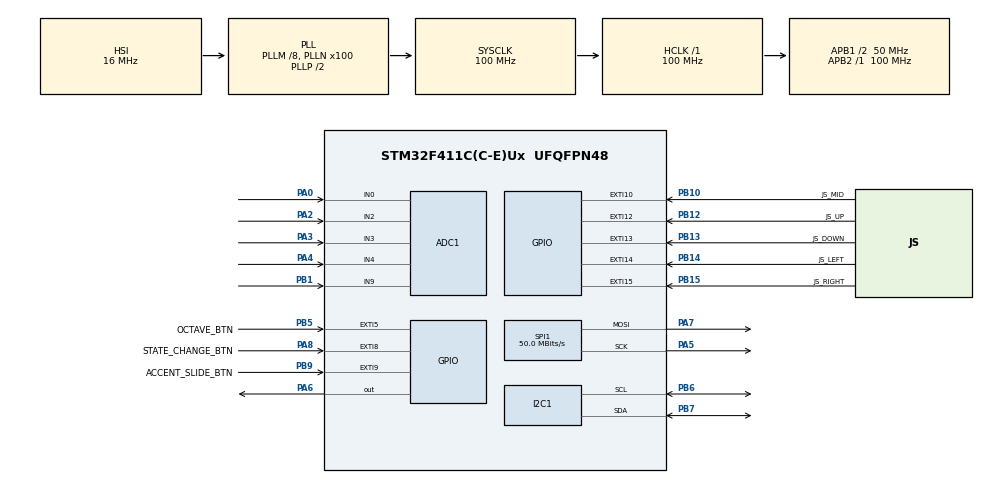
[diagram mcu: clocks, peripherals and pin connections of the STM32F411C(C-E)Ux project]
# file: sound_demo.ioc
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ADC1.Channel-3\#ChannelRegularConversion=ADC_CHANNEL_9
ADC1.Channel-4\#ChannelRegularConversion=ADC_CHANNEL_4
ADC1.Channel-5\#ChannelRegularConversion=ADC_CHANNEL_3
ADC1.Channel-6\#ChannelRegularConversion=ADC_CHANNEL_2
ADC1.Channel-7\#ChannelRegularConversion=ADC_CHANNEL_0
ADC1.DMAContinuousRequests=ENABLE
ADC1.ExternalTrigConv=ADC_EXTERNALTRIGCONV_T3_TRGO
ADC1.NbrOfConversion=5
ADC1.NbrOfConversionFlag=1
ADC1.Rank-3\#ChannelRegularConversion=1
ADC1.Rank-4\#ChannelRegularConversion=2
ADC1.Rank-5\#ChannelRegularConversion=3
ADC1.Rank-6\#ChannelRegularConversion=4
ADC1.Rank-7\#ChannelRegularConversion=5
ADC1.SamplingTime-3\#ChannelRegularConversion=ADC_SAMPLETIME_3CYCLES
ADC1.SamplingTime-4\#ChannelRegularConversion=ADC_SAMPLETIME_3CYCLES
ADC1.SamplingTime-5\#ChannelRegularConversion=ADC_SAMPLETIME_3CYCLES
ADC1.SamplingTime-6\#ChannelRegularConversion=ADC_SAMPLETIME_3CYCLES
ADC1.SamplingTime-7\#ChannelRegularConversion=ADC_SAMPLETIME_3CYCLES
ADC1.ScanConvMode=ENABLE
ADC1.master=1
Dma.ADC1.1.Direction=DMA_PERIPH_TO_MEMORY
Dma.ADC1.1.FIFOMode=DMA_FIFOMODE_DISABLE
Dma.ADC1.1.Instance=DMA2_Stream0
Dma.ADC1.1.MemDataAlignment=DMA_MDATAALIGN_HALFWORD
Dma.ADC1.1.MemInc=DMA_MINC_ENABLE
Dma.ADC1.1.Mode=DMA_CIRCULAR
Dma.ADC1.1.PeriphDataAlignment=DMA_PDATAALIGN_HALFWORD
Dma.ADC1.1.PeriphInc=DMA_PINC_DISABLE
Dma.ADC1.1.Priority=DMA_PRIORITY_LOW
Dma.Request0=SPI1_TX
Dma.Request1=ADC1
Dma.SPI1_TX.0.Direction=DMA_MEMORY_TO_PERIPH
Dma.SPI1_TX.0.FIFOMode=DMA_FIFOMODE_DISABLE
Dma.SPI1_TX.0.Instance=DMA2_Stream2
Dma.SPI1_TX.0.MemDataAlignment=DMA_MDATAALIGN_HALFWORD
Dma.SPI1_TX.0.MemInc=DMA_MINC_ENABLE
Dma.SPI1_TX.0.Mode=DMA_NORMAL
Dma.SPI1_TX.0.PeriphDataAlignment=DMA_PDATAALIGN_HALFWORD
Dma.SPI1_TX.0.PeriphInc=DMA_PINC_DISABLE
Dma.SPI1_TX.0.Priority=DMA_PRIORITY_HIGH
Mcu.Family=STM32F4
Mcu.Name=STM32F411C(C-E)Ux
Mcu.Package=UFQFPN48
NVIC.DMA2_Stream0_IRQn=true\:0\:0\:false\:false\:true\:false\:true\:true
NVIC.DMA2_Stream2_IRQn=true\:0\:0\:false\:false\:true\:false\:true\:true
NVIC.EXTI15_10_IRQn=true\:0\:0\:false\:false\:true\:true\:true\:true
NVIC.EXTI9_5_IRQn=true\:0\:0\:false\:false\:true\:true\:true\:true
NVIC.PriorityGroup=NVIC_PRIORITYGROUP_4
NVIC.SPI1_IRQn=true\:0\:0\:false\:false\:true\:true\:true\:true
NVIC.TIM2_IRQn=true\:0\:0\:false\:false\:true\:true\:true\:true
PA0-WKUP.Signal=ADCx_IN0
PA2.Signal=ADCx_IN2
PA3.Signal=ADCx_IN3
PA4.Signal=ADCx_IN4
PA5.Mode=TX_Only_Simplex_Unidirect_Master
PA5.Signal=SPI1_SCK
PA6.Signal=GPIO_Output
PA7.Mode=TX_Only_Simplex_Unidirect_Master
PA7.Signal=SPI1_MOSI
PA8.GPIO_Label=STATE_CHANGE_BTN
PA8.GPIO_ModeDefaultEXTI=GPIO_MODE_IT_FALLING
PA8.GPIO_PuPd=GPIO_PULLUP
PA8.Signal=GPXTI8
PB1.Signal=ADCx_IN9
PB10.GPIO_Label=JS_MID
PB10.GPIO_ModeDefaultEXTI=GPIO_MODE_IT_FALLING
PB10.GPIO_PuPd=GPIO_PULLUP
PB10.Signal=GPXTI10
PB12.GPIO_Label=JS_UP
PB12.GPIO_ModeDefaultEXTI=GPIO_MODE_IT_FALLING
PB12.GPIO_PuPd=GPIO_PULLUP
PB12.Signal=GPXTI12
PB13.GPIO_Label=JS_DOWN
PB13.GPIO_ModeDefaultEXTI=GPIO_MODE_IT_FALLING
PB13.GPIO_PuPd=GPIO_PULLUP
PB13.Signal=GPXTI13
PB14.GPIO_Label=JS_LEFT
PB14.GPIO_ModeDefaultEXTI=GPIO_MODE_IT_FALLING
PB14.GPIO_PuPd=GPIO_PULLUP
PB14.Signal=GPXTI14
PB15.GPIO_Label=JS_RIGHT
PB15.GPIO_ModeDefaultEXTI=GPIO_MODE_IT_FALLING
PB15.GPIO_PuPd=GPIO_PULLUP
PB15.Signal=GPXTI15
PB5.GPIO_Label=OCTAVE_BTN
PB5.GPIO_ModeDefaultEXTI=GPIO_MODE_IT_FALLING
PB5.GPIO_PuPd=GPIO_PULLUP
PB5.Signal=GPXTI5
PB6.GPIO_Pu=GPIO_PULLUP
PB6.GPIO_Speed=GPIO_SPEED_FREQ_MEDIUM
PB6.Mode=I2C
PB6.Signal=I2C1_SCL
PB7.GPIO_Pu=GPIO_PULLUP
PB7.GPIO_Speed=GPIO_SPEED_FREQ_MEDIUM
PB7.Mode=I2C
PB7.Signal=I2C1_SDA
PB9.GPIO_Label=ACCENT_SLIDE_BTN
PB9.GPIO_ModeDefaultEXTI=GPIO_MODE_IT_FALLING
PB9.GPIO_PuPd=GPIO_PULLUP
PB9.Signal=GPXTI9
ProjectManager.HeapSize=0x200
ProjectManager.StackSize=0x400
ProjectManager.TargetToolchain=STM32CubeIDE
RCC.48MHZClocksFreq_Value=50000000
RCC.AHBFreq_Value=100000000
RCC.APB1CLKDivider=RCC_HCLK_DIV2
RCC.APB1Freq_Value=50000000
RCC.APB1TimFreq_Value=100000000
RCC.APB2Freq_Value=100000000
RCC.APB2TimFreq_Value=100000000
RCC.CortexFreq_Value=100000000
RCC.HCLKFreq_Value=100000000
RCC.HSE_VALUE=25000000
RCC.HSI_VALUE=16000000
RCC.LSE_VALUE=32768
RCC.PLLM=8
RCC.PLLN=100
RCC.SYSCLKFreq_VALUE=100000000
RCC.SYSCLKSource=RCC_SYSCLKSOURCE_PLLCLK
RCC.VCOOutputFreq_Value=200000000
SH.ADCx_IN0.0=ADC1_IN0,IN0
SH.ADCx_IN2.0=ADC1_IN2,IN2
SH.ADCx_IN3.0=ADC1_IN3,IN3
SH.ADCx_IN4.0=ADC1_IN4,IN4
SH.ADCx_IN9.0=ADC1_IN9,IN9
SPI1.CalculateBaudRate=50.0 MBits/s
SPI1.DataSize=SPI_DATASIZE_16BIT
SPI1.Direction=SPI_DIRECTION_2LINES
SPI1.Mode=SPI_MODE_MASTER
SPI1.VirtualType=VM_MASTER
TIM10.Prescaler=10000-1
TIM2.Period=4535
TIM3.Period=999
TIM3.Prescaler=9999
TIM3.TIM_MasterOutputTrigger=TIM_TRGO_UPDATE
VP_TIM10_VS_ClockSourceINT.Mode=Enable_Timer
VP_TIM2_VS_ClockSourceINT.Mode=Internal
VP_TIM3_VS_ClockSourceINT.Mode=Internal
board=custom

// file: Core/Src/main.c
/* USER CODE BEGIN Header */
/**
 ******************************************************************************
 * @file           : main.c
 * @brief          : Main program body
 ******************************************************************************
 * @attention
 *
 * Copyright (c) 2026 STMicroelectronics.
 * All rights reserved.
 *
 * This software is licensed under terms that can be found in the LICENSE file
 * in the root directory of this software component.
 * If no LICENSE file comes with this software, it is provided AS-IS.
 *
 ******************************************************************************
 */
/* USER CODE END Header */
#include "main.h"

/* USER CODE BEGIN Includes */
#include "sound.h"
#include "user_interface.h"

/* USER CODE END Includes */

ADC_HandleTypeDef hadc1;
DMA_HandleTypeDef hdma_adc1;

I2C_HandleTypeDef hi2c1;

SPI_HandleTypeDef hspi1;
DMA_HandleTypeDef hdma_spi1_tx;

TIM_HandleTypeDef htim2;
TIM_HandleTypeDef htim3;
TIM_HandleTypeDef htim10;

void SystemClock_Config(void);
static void MX_GPIO_Init(void);
static void MX_DMA_Init(void);
static void MX_SPI1_Init(void);
static void MX_TIM2_Init(void);
static void MX_ADC1_Init(void);
static void MX_TIM3_Init(void);
static void MX_TIM10_Init(void);
static void MX_I2C1_Init(void);
/* USER CODE BEGIN PFP */
volatile const char shapes[3] = { 't', 's', 'c' };
/* USER CODE END PFP */

/* USER CODE BEGIN 0 */
volatile struct buffer buf;

uint8_t trigger_env;

float a = 0.04f;
float k = 1.0f;
float sweep = 0.8f;
float sweep_rate = 0.9994f;
float decay_rate = 0.9997f;
float attack_rate = 0.015f;

uint16_t bpm = 120;
uint16_t shape_index;
uint8_t sub = 0;

uint16_t adc_buf[5] = { 0 };
volatile uint8_t process_flag = 0;

volatile uint16_t sequence[16] = { 0, 0, 0, 0, 0, 0, 0, 0, 0, 0, 0, 0, 0, 0, 0,
		0, };

volatile uint16_t note_index[16] = { 1, 1, 1, 1, 1, 1, 1, 1, 1, 1, 1, 1, 1, 1,
		1, 1 };

volatile int16_t octaves[16] =
		{ 0, 0, 0, 0, 0, 0, 0, 0, 0, 0, 0, 0, 0, 0, 0, 0 };

volatile int16_t slides[16] = { 0, 0, 0, 0, 0, 0, 0, 0, 0, 0, 0, 0, 0, 0, 0, 0 };

volatile int16_t accents[16] =
		{ 0, 0, 0, 0, 0, 0, 0, 0, 0, 0, 0, 0, 0, 0, 0, 0, };

volatile mode device_mode = PROG;
volatile uint32_t sample_counter = 0;
volatile uint32_t last_interrupt_time = 0;
volatile uint16_t curr = 0;
volatile uint32_t overrun_count = 0;

volatile HAL_StatusTypeDef status;

volatile int16_t seq_cursor = 0;
volatile int16_t seq_page = 0;
volatile int16_t active_pages = 1;

volatile int16_t options_cursor = 0;

volatile menu menu_state = OPTIONS;

/* USER CODE END 0 */

int main(void) {

	/* MCU Configuration--------------------------------------------------------*/

	/* Reset of all peripherals, Initializes the Flash interface and the Systick. */
	HAL_Init();

	/* USER CODE BEGIN Init */

	SCB->CPACR |= ((3UL << 10 * 2) | (3UL << 11 * 2));
	__set_FPSCR(__get_FPSCR() | (1 << 24) | (1 << 25));

	/* USER CODE END Init */

	/* Configure the system clock */
	SystemClock_Config();

	/* Initialize all configured peripherals */
	MX_GPIO_Init();
	MX_DMA_Init();
	MX_SPI1_Init();
	MX_TIM2_Init();
	MX_ADC1_Init();
	MX_TIM3_Init();
	MX_TIM10_Init();
	MX_I2C1_Init();
	/* USER CODE BEGIN 2 */

	HAL_NVIC_SetPriority(DMA2_Stream0_IRQn, 1, 0);
	HAL_NVIC_SetPriority(DMA2_Stream2_IRQn, 2, 0);

	struct ssd1306_t display;
	display.hi2cx = &hi2c1;
	HAL_Delay(100);
	init_display(&display);

	HAL_TIM_Base_Start(&htim3);
	HAL_ADC_Start_DMA(&hadc1, (uint32_t*) adc_buf, 5);

	trigger_env = 1;
	init_buffer(&buf, 110.0f);
	HAL_GPIO_WritePin(GPIOA, GPIO_PIN_6, 1);
	HAL_TIM_Base_Start_IT(&htim2);

	buf.slide = 0.02f;

	uint32_t samples_per_step = (SAMPLE_RATE * 60) / (bpm * 4);

	/* USER CODE END 2 */

	/* Infinite loop */
	/* USER CODE BEGIN WHILE */
	while (1) {

		if (device_mode == PLAY) {
			if (process_flag) {
				process_flag = 0;

				a = 0.02f + 0.2 * ((float) adc_buf[0] / 4095.0f);
				k = 0.0f + 10.0f * ((float) adc_buf[1] / 4095.0f);
				sweep = 0.0f + 1.0 * ((float) adc_buf[2] / 4095.0f);
				sweep_rate = 0.999f + 0.0009 * ((float) adc_buf[3] / 4095.0f);

				samples_per_step = (SAMPLE_RATE * 60) / (bpm * 4);

				advance_sequencer(&buf, &sample_counter, samples_per_step, note_index,
						octaves, slides, accents, sequence, curr, sweep, active_pages);

				compute_next(&buf, trigger_env, sweep, sweep_rate, sweep_rate,
						attack_rate, shapes[shape_index], sub);

				filter(&buf, a + buf.sweep, k);

				if (hspi1.State == HAL_SPI_STATE_READY) {
					send_to_dac(&hspi1, GPIOA, GPIO_PIN_6, buf.curr_sample);
				}
			}
		} else {
			if (menu_state == SEQUENCER) {
				for (int i = 15; i >= 0; i--) {
					if (sequence[i] != 0) {
						active_pages = (i / 4) + 1;
						break;
					}
				}

				display_sequencer(&display, note_index, sequence, octaves,
						slides, accents, seq_cursor, seq_page, active_pages);
			} else if (menu_state == OPTIONS) {

				bpm = (uint16_t) (150 - 90 * ((float) adc_buf[4] / 4095.0f));

				display_options(&display, bpm, shapes[shape_index], sub,
						options_cursor);
			}
			HAL_Delay(100);

		}

		/* USER CODE END WHILE */

	}
}

void SystemClock_Config(void) {
	RCC_OscInitTypeDef RCC_OscInitStruct = { 0 };
	RCC_ClkInitTypeDef RCC_ClkInitStruct = { 0 };

	/** Configure the main internal regulator output voltage
	 */
	__HAL_RCC_PWR_CLK_ENABLE();
	__HAL_PWR_VOLTAGESCALING_CONFIG(PWR_REGULATOR_VOLTAGE_SCALE1);

	/** Initializes the RCC Oscillators according to the specified parameters
	 * in the RCC_OscInitTypeDef structure.
	 */
	RCC_OscInitStruct.OscillatorType = RCC_OSCILLATORTYPE_HSI;
	RCC_OscInitStruct.HSIState = RCC_HSI_ON;
	RCC_OscInitStruct.HSICalibrationValue = RCC_HSICALIBRATION_DEFAULT;
	RCC_OscInitStruct.PLL.PLLState = RCC_PLL_ON;
	RCC_OscInitStruct.PLL.PLLSource = RCC_PLLSOURCE_HSI;
	RCC_OscInitStruct.PLL.PLLM = 8;
	RCC_OscInitStruct.PLL.PLLN = 100;
	RCC_OscInitStruct.PLL.PLLP = RCC_PLLP_DIV2;
	RCC_OscInitStruct.PLL.PLLQ = 4;
	if (HAL_RCC_OscConfig(&RCC_OscInitStruct) != HAL_OK) {
		Error_Handler();
	}

	/** Initializes the CPU, AHB and APB buses clocks
	 */
	RCC_ClkInitStruct.ClockType = RCC_CLOCKTYPE_HCLK | RCC_CLOCKTYPE_SYSCLK
			| RCC_CLOCKTYPE_PCLK1 | RCC_CLOCKTYPE_PCLK2;
	RCC_ClkInitStruct.SYSCLKSource = RCC_SYSCLKSOURCE_PLLCLK;
	RCC_ClkInitStruct.AHBCLKDivider = RCC_SYSCLK_DIV1;
	RCC_ClkInitStruct.APB1CLKDivider = RCC_HCLK_DIV2;
	RCC_ClkInitStruct.APB2CLKDivider = RCC_HCLK_DIV1;

	if (HAL_RCC_ClockConfig(&RCC_ClkInitStruct, FLASH_LATENCY_3) != HAL_OK) {
		Error_Handler();
	}
}

static void MX_ADC1_Init(void) {

	ADC_ChannelConfTypeDef sConfig = { 0 };

	/** Configure the global features of the ADC (Clock, Resolution, Data Alignment and number of conversion)
	 */
	hadc1.Instance = ADC1;
	hadc1.Init.ClockPrescaler = ADC_CLOCK_SYNC_PCLK_DIV4;
	hadc1.Init.Resolution = ADC_RESOLUTION_12B;
	hadc1.Init.ScanConvMode = ENABLE;
	hadc1.Init.ContinuousConvMode = DISABLE;
	hadc1.Init.DiscontinuousConvMode = DISABLE;
	hadc1.Init.ExternalTrigConvEdge = ADC_EXTERNALTRIGCONVEDGE_RISING;
	hadc1.Init.ExternalTrigConv = ADC_EXTERNALTRIGCONV_T3_TRGO;
	hadc1.Init.DataAlign = ADC_DATAALIGN_RIGHT;
	hadc1.Init.NbrOfConversion = 5;
	hadc1.Init.DMAContinuousRequests = ENABLE;
	hadc1.Init.EOCSelection = ADC_EOC_SINGLE_CONV;
	if (HAL_ADC_Init(&hadc1) != HAL_OK) {
		Error_Handler();
	}

	/** Configure for the selected ADC regular channel its corresponding rank in the sequencer and its sample time.
	 */
	sConfig.Channel = ADC_CHANNEL_9;
	sConfig.Rank = 1;
	sConfig.SamplingTime = ADC_SAMPLETIME_3CYCLES;
	if (HAL_ADC_ConfigChannel(&hadc1, &sConfig) != HAL_OK) {
		Error_Handler();
	}

	/** Configure for the selected ADC regular channel its corresponding rank in the sequencer and its sample time.
	 */
	sConfig.Channel = ADC_CHANNEL_4;
	sConfig.Rank = 2;
	if (HAL_ADC_ConfigChannel(&hadc1, &sConfig) != HAL_OK) {
		Error_Handler();
	}

	/** Configure for the selected ADC regular channel its corresponding rank in the sequencer and its sample time.
	 */
	sConfig.Channel = ADC_CHANNEL_3;
	sConfig.Rank = 3;
	if (HAL_ADC_ConfigChannel(&hadc1, &sConfig) != HAL_OK) {
		Error_Handler();
	}

	/** Configure for the selected ADC regular channel its corresponding rank in the sequencer and its sample time.
	 */
	sConfig.Channel = ADC_CHANNEL_2;
	sConfig.Rank = 4;
	if (HAL_ADC_ConfigChannel(&hadc1, &sConfig) != HAL_OK) {
		Error_Handler();
	}

	/** Configure for the selected ADC regular channel its corresponding rank in the sequencer and its sample time.
	 */
	sConfig.Channel = ADC_CHANNEL_0;
	sConfig.Rank = 5;
	if (HAL_ADC_ConfigChannel(&hadc1, &sConfig) != HAL_OK) {
		Error_Handler();
	}

}

static void MX_I2C1_Init(void) {

	hi2c1.Instance = I2C1;
	hi2c1.Init.ClockSpeed = 100000;
	hi2c1.Init.DutyCycle = I2C_DUTYCYCLE_2;
	hi2c1.Init.OwnAddress1 = 0;
	hi2c1.Init.AddressingMode = I2C_ADDRESSINGMODE_7BIT;
	hi2c1.Init.DualAddressMode = I2C_DUALADDRESS_DISABLE;
	hi2c1.Init.OwnAddress2 = 0;
	hi2c1.Init.GeneralCallMode = I2C_GENERALCALL_DISABLE;
	hi2c1.Init.NoStretchMode = I2C_NOSTRETCH_DISABLE;
	if (HAL_I2C_Init(&hi2c1) != HAL_OK) {
		Error_Handler();
	}

}

static void MX_SPI1_Init(void) {

	/* SPI1 parameter configuration*/
	hspi1.Instance = SPI1;
	hspi1.Init.Mode = SPI_MODE_MASTER;
	hspi1.Init.Direction = SPI_DIRECTION_2LINES;
	hspi1.Init.DataSize = SPI_DATASIZE_16BIT;
	hspi1.Init.CLKPolarity = SPI_POLARITY_LOW;
	hspi1.Init.CLKPhase = SPI_PHASE_1EDGE;
	hspi1.Init.NSS = SPI_NSS_SOFT;
	hspi1.Init.BaudRatePrescaler = SPI_BAUDRATEPRESCALER_2;
	hspi1.Init.FirstBit = SPI_FIRSTBIT_MSB;
	hspi1.Init.TIMode = SPI_TIMODE_DISABLE;
	hspi1.Init.CRCCalculation = SPI_CRCCALCULATION_DISABLE;
	hspi1.Init.CRCPolynomial = 10;
	if (HAL_SPI_Init(&hspi1) != HAL_OK) {
		Error_Handler();
	}

}

static void MX_TIM2_Init(void) {

	TIM_ClockConfigTypeDef sClockSourceConfig = { 0 };
	TIM_MasterConfigTypeDef sMasterConfig = { 0 };

	htim2.Instance = TIM2;
	htim2.Init.Prescaler = 0;
	htim2.Init.CounterMode = TIM_COUNTERMODE_UP;
	htim2.Init.Period = 4535;
	htim2.Init.ClockDivision = TIM_CLOCKDIVISION_DIV1;
	htim2.Init.AutoReloadPreload = TIM_AUTORELOAD_PRELOAD_DISABLE;
	if (HAL_TIM_Base_Init(&htim2) != HAL_OK) {
		Error_Handler();
	}
	sClockSourceConfig.ClockSource = TIM_CLOCKSOURCE_INTERNAL;
	if (HAL_TIM_ConfigClockSource(&htim2, &sClockSourceConfig) != HAL_OK) {
		Error_Handler();
	}
	sMasterConfig.MasterOutputTrigger = TIM_TRGO_RESET;
	sMasterConfig.MasterSlaveMode = TIM_MASTERSLAVEMODE_DISABLE;
	if (HAL_TIMEx_MasterConfigSynchronization(&htim2, &sMasterConfig)
			!= HAL_OK) {
		Error_Handler();
	}

}

static void MX_TIM3_Init(void) {

	TIM_ClockConfigTypeDef sClockSourceConfig = { 0 };
	TIM_MasterConfigTypeDef sMasterConfig = { 0 };

	htim3.Instance = TIM3;
	htim3.Init.Prescaler = 9999;
	htim3.Init.CounterMode = TIM_COUNTERMODE_UP;
	htim3.Init.Period = 999;
	htim3.Init.ClockDivision = TIM_CLOCKDIVISION_DIV1;
	htim3.Init.AutoReloadPreload = TIM_AUTORELOAD_PRELOAD_DISABLE;
	if (HAL_TIM_Base_Init(&htim3) != HAL_OK) {
		Error_Handler();
	}
	sClockSourceConfig.ClockSource = TIM_CLOCKSOURCE_INTERNAL;
	if (HAL_TIM_ConfigClockSource(&htim3, &sClockSourceConfig) != HAL_OK) {
		Error_Handler();
	}
	sMasterConfig.MasterOutputTrigger = TIM_TRGO_UPDATE;
	sMasterConfig.MasterSlaveMode = TIM_MASTERSLAVEMODE_DISABLE;
	if (HAL_TIMEx_MasterConfigSynchronization(&htim3, &sMasterConfig)
			!= HAL_OK) {
		Error_Handler();
	}

}

static void MX_TIM10_Init(void) {

	htim10.Instance = TIM10;
	htim10.Init.Prescaler = 10000 - 1;
	htim10.Init.CounterMode = TIM_COUNTERMODE_UP;
	htim10.Init.Period = 65535;
	htim10.Init.ClockDivision = TIM_CLOCKDIVISION_DIV1;
	htim10.Init.AutoReloadPreload = TIM_AUTORELOAD_PRELOAD_DISABLE;
	if (HAL_TIM_Base_Init(&htim10) != HAL_OK) {
		Error_Handler();
	}

}

static void MX_DMA_Init(void) {

	/* DMA controller clock enable */
	__HAL_RCC_DMA2_CLK_ENABLE();

	/* DMA interrupt init */
	/* DMA2_Stream0_IRQn interrupt configuration */
	HAL_NVIC_SetPriority(DMA2_Stream0_IRQn, 0, 0);
	HAL_NVIC_EnableIRQ(DMA2_Stream0_IRQn);
	/* DMA2_Stream2_IRQn interrupt configuration */
	HAL_NVIC_SetPriority(DMA2_Stream2_IRQn, 0, 0);
	HAL_NVIC_EnableIRQ(DMA2_Stream2_IRQn);

}

static void MX_GPIO_Init(void) {
	GPIO_InitTypeDef GPIO_InitStruct = { 0 };

	/* GPIO Ports Clock Enable */
	__HAL_RCC_GPIOA_CLK_ENABLE();
	__HAL_RCC_GPIOB_CLK_ENABLE();

	/*Configure GPIO pin Output Level */
	HAL_GPIO_WritePin(GPIOA, GPIO_PIN_6, GPIO_PIN_RESET);

	/*Configure GPIO pin : PA6 */
	GPIO_InitStruct.Pin = GPIO_PIN_6;
	GPIO_InitStruct.Mode = GPIO_MODE_OUTPUT_PP;
	GPIO_InitStruct.Pull = GPIO_NOPULL;
	GPIO_InitStruct.Speed = GPIO_SPEED_FREQ_LOW;
	HAL_GPIO_Init(GPIOA, &GPIO_InitStruct);

	/*Configure GPIO pins : JS_MID_Pin JS_UP_Pin JS_DOWN_Pin JS_LEFT_Pin
	 JS_RIGHT_Pin OCTAVE_BTN_Pin ACCENT_SLIDE_BTN_Pin */
	GPIO_InitStruct.Pin = JS_MID_Pin | JS_UP_Pin | JS_DOWN_Pin | JS_LEFT_Pin
			| JS_RIGHT_Pin | OCTAVE_BTN_Pin | ACCENT_SLIDE_BTN_Pin;
	GPIO_InitStruct.Mode = GPIO_MODE_IT_FALLING;
	GPIO_InitStruct.Pull = GPIO_PULLUP;
	HAL_GPIO_Init(GPIOB, &GPIO_InitStruct);

	/*Configure GPIO pin : STATE_CHANGE_BTN_Pin */
	GPIO_InitStruct.Pin = STATE_CHANGE_BTN_Pin;
	GPIO_InitStruct.Mode = GPIO_MODE_IT_FALLING;
	GPIO_InitStruct.Pull = GPIO_PULLUP;
	HAL_GPIO_Init(STATE_CHANGE_BTN_GPIO_Port, &GPIO_InitStruct);

	/* EXTI interrupt init*/
	HAL_NVIC_SetPriority(EXTI9_5_IRQn, 0, 0);
	HAL_NVIC_EnableIRQ(EXTI9_5_IRQn);

	HAL_NVIC_SetPriority(EXTI15_10_IRQn, 0, 0);
	HAL_NVIC_EnableIRQ(EXTI15_10_IRQn);

}

/* USER CODE BEGIN 4 */

void HAL_TIM_PeriodElapsedCallback(TIM_HandleTypeDef *htim) {
	if (htim == &htim2) {
		if (process_flag == 1) {
			overrun_count++;
		}
		process_flag = 1;
	}
}

void HAL_SPI_TxCpltCallback(SPI_HandleTypeDef *hspi) {
	if (hspi == &hspi1) {
		GPIOA->BSRR = GPIO_PIN_6;
	}
}

void HAL_GPIO_EXTI_Callback(uint16_t GPIO_Pin) {
	if (GPIO_Pin == STATE_CHANGE_BTN_Pin) {

		uint32_t current_time = HAL_GetTick();

		if (current_time - last_interrupt_time > 200) {
			if (device_mode == PROG) {
				device_mode = PLAY;
			} else {
				trigger_env = 1;
				init_buffer(&buf, 110.0f);
				sample_counter = 0;
				curr = 0;
				device_mode = PROG;
			}
			last_interrupt_time = current_time;
		}
	} else if (GPIO_Pin == JS_LEFT_Pin) {
		uint32_t now = HAL_GetTick();
		if (now - last_interrupt_time > 200) {
			if (menu_state == SEQUENCER) {
				if (seq_cursor == 0 && seq_page == 0)
					menu_state = OPTIONS;
				else {
					if (seq_cursor == 0) {
						seq_cursor = 3;
						if (seq_page == 0)
							seq_page = 3;
						else
							seq_page--;
					} else {
						seq_cursor--;
					}
				}
			}
			if (menu_state == OPTIONS) {
				options_cursor = (options_cursor == 0) ? 1 : 0;
			}
			last_interrupt_time = now;
		}
	} else if (GPIO_Pin == JS_RIGHT_Pin) {
		uint32_t now = HAL_GetTick();
		if (now - last_interrupt_time > 200) {
			if (menu_state == SEQUENCER) {
				if (seq_cursor == 3) {
					seq_cursor = 0;
					seq_page = (seq_page + 1) % 4;
				} else {
					seq_cursor++;
				}
			}
			if (menu_state == OPTIONS) {
				if (options_cursor == 1)
					menu_state = SEQUENCER;
				else
					options_cursor = 1;
			}
			last_interrupt_time = now;
		}
	} else if (GPIO_Pin == JS_UP_Pin) {
		uint32_t now = HAL_GetTick();
		if (now - last_interrupt_time > 200) {
			if (menu_state == SEQUENCER)
				note_index[seq_cursor + 4 * seq_page] = (note_index[seq_cursor
						+ 4 * seq_page] + 1) % 12;
			if (menu_state == OPTIONS) {
				if (options_cursor == 0)
					shape_index = (shape_index + 1) % 3;
				else
					sub = (sub == 0) ? 1 : 0;
			}
			last_interrupt_time = now;
		}
	} else if (GPIO_Pin == JS_DOWN_Pin) {
		uint32_t now = HAL_GetTick();
		if (now - last_interrupt_time > 200) {
			if (menu_state == SEQUENCER) {
				uint16_t i = seq_cursor + 4 * seq_page;
				if (note_index[i] == 0) {
					note_index[i] = 11;
				} else {
					note_index[i]--;
				}
			}
			if (menu_state == OPTIONS) {
				if (options_cursor == 0) {
					if (shape_index == 0) {
						shape_index = 2;
					} else {
						shape_index--;
					}
				} else
					sub = (sub == 0) ? 1 : 0;
			}
			last_interrupt_time = now;
		}
	} else if (GPIO_Pin == JS_MID_Pin) {
		uint32_t now = HAL_GetTick();
		if (now - last_interrupt_time > 200) {
			sequence[seq_cursor + 4 * seq_page] = !sequence[seq_cursor
					+ 4 * seq_page];
			last_interrupt_time = now;
		}
	} else if (GPIO_Pin == OCTAVE_BTN_Pin) {
		uint32_t now = HAL_GetTick();
		if (now - last_interrupt_time > 200) {

			uint16_t i = seq_cursor + 4 * seq_page;

			switch (octaves[i]) {
			case 0:
				octaves[i] = 1;
				break;
			case 1:
				octaves[i] = -1;
				break;
			case -1:
				octaves[i] = 0;
				break;
			default:
				break;

			}
			last_interrupt_time = now;
		}
	} else if (GPIO_Pin == ACCENT_SLIDE_BTN_Pin) {
		uint32_t now = HAL_GetTick();
		if (now - last_interrupt_time > 200) {

			uint16_t i = seq_cursor + 4 * seq_page;

			if (slides[i] == 0 && accents[i] == 0) {
				slides[i] = 1;
			} else if (slides[i] == 1 && accents[i] == 0) {
				accents[i] = 1;
				slides[i] = 0;
			} else if (slides[i] == 0 && accents[i] == 1) {
				accents[i] = 1;
				slides[i] = 1;
			} else if (slides[i] == 1 && accents[i] == 1) {
				accents[i] = 0;
				slides[i] = 0;
			}
			last_interrupt_time = now;
		}
	}
}

/* USER CODE END 4 */

void Error_Handler(void) {
	__disable_irq();
	while (1) {
	}
}
